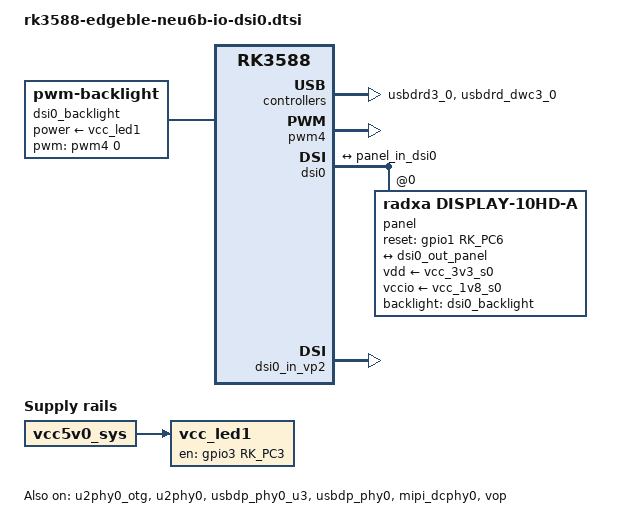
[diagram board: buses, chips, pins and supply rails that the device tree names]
// SPDX-License-Identifier: (GPL-2.0+ OR MIT)
/*
 * Copyright (c) 2023 Edgeble AI Technologies Pvt. Ltd.
 */

&usbdrd3_0 {
	status = "okay";
};

/* OTG, set dr_mode = "host"; for host */
&usbdrd_dwc3_0 {
	status = "okay";
};

&u2phy0_otg {
	status = "okay";
};

&u2phy0 {
	status = "okay";
};

&usbdp_phy0_u3 {
	status = "okay";
};

&usbdp_phy0 {
	status = "okay";
};

/* DSI0 */
/ {
	vcc_led1: vcc-led1 {
		compatible = "regulator-fixed";
		regulator-name = "vcc_led1";
		gpio = <&gpio3 RK_PC3 GPIO_ACTIVE_HIGH>;
		enable-active-high;
		pinctrl-names = "default";
		pinctrl-0 = <&dsi0_backlight_en>; /* LCD1_BL_EN */
		regulator-always-on;
		regulator-boot-on;
		vin-supply = <&vcc5v0_sys>;
	};

	dsi0_backlight: dsi0-backlight {
		compatible = "pwm-backlight";
		pwms = <&pwm4 0 25000 0>;
		brightness-levels = <
			  0  20  20  21  21  22  22  23
			 23  24  24  25  25  26  26  27
			 27  28  28  29  29  30  30  31
			 31  32  32  33  33  34  34  35
			 35  36  36  37  37  38  38  39
			 40  41  42  43  44  45  46  47
			 48  49  50  51  52  53  54  55
			 56  57  58  59  60  61  62  63
			 64  65  66  67  68  69  70  71
			 72  73  74  75  76  77  78  79
			 80  81  82  83  84  85  86  87
			 88  89  90  91  92  93  94  95
			 96  97  98  99 100 101 102 103
			104 105 106 107 108 109 110 111
			112 113 114 115 116 117 118 119
			120 121 122 123 124 125 126 127
			128 129 130 131 132 133 134 135
			136 137 138 139 140 141 142 143
			144 145 146 147 148 149 150 151
			152 153 154 155 156 157 158 159
			160 161 162 163 164 165 166 167
			168 169 170 171 172 173 174 175
			176 177 178 179 180 181 182 183
			184 185 186 187 188 189 190 191
			192 193 194 195 196 197 198 199
			200 201 202 203 204 205 206 207
			208 209 210 211 212 213 214 215
			216 217 218 219 220 221 222 223
			224 225 226 227 228 229 230 231
			232 233 234 235 236 237 238 239
			240 241 242 243 244 245 246 247
			248 249 250 251 252 253 254 255
		>;
		default-brightness-level = <200>;
		power-supply = <&vcc_led1>;
	};
};

&pinctrl {
	backlight-0 {
		dsi0_backlight_en: dsi0-backlight-en {
			rockchip,pins = <3 RK_PC3 RK_FUNC_GPIO &pcfg_pull_up>;
		};
	};

	dsi0-lcd {
		dsi0_lcd_rst_gpio: dsi0-lcd-rst-gpio {
			rockchip,pins = <1 RK_PC6 RK_FUNC_GPIO &pcfg_pull_up>;
		};
	};
};

&pwm4 {
	status = "okay";
	pinctrl-names = "active";
	pinctrl-0 = <&pwm4m0_pins>;
};

&dsi0 {
	status = "okay";
	rockchip,lane-rate = <480>;
	#address-cells = <1>;
	#size-cells = <0>;

	ports {
		#address-cells = <1>;
		#size-cells = <0>;

		port@1 {
			reg = <1>;

			dsi0_out_panel: endpoint {
				remote-endpoint = <&panel_in_dsi0>;
			};
		};
	};

	panel@0 {
		compatible = "radxa,display-10hd-a", "jadard,jd9365da-h3";
		reg = <0>;
		backlight = <&dsi0_backlight>;
		vdd-supply = <&vcc_3v3_s0>;
		vccio-supply = <&vcc_1v8_s0>;
		reset-gpios = <&gpio1 RK_PC6 GPIO_ACTIVE_HIGH>; /* LCD1_RESET */
		pinctrl-names = "default";
		pinctrl-0 = <&dsi0_lcd_rst_gpio>;

		port {
			panel_in_dsi0: endpoint {
				remote-endpoint = <&dsi0_out_panel>;
			};
		};
	};
};

&mipi_dcphy0 {
	status = "okay";
};

&display_subsystem {
	route {
		route_dsi0: route-dsi0 {
			status = "okay";
			connect = <&vp2_out_dsi0>;
		};
	};
};

&dsi0_in_vp2 {
	status = "okay";
};

&dsi0_in_vp3 {
	status = "disabled";
};

&vop {
	status = "okay";
};

&vop_mmu {
	status = "okay";
};

/* vp0 & vp1 splice for 8K output */
&vp0 {
	rockchip,plane-mask = <(1 << ROCKCHIP_VOP2_CLUSTER0 | 1 << ROCKCHIP_VOP2_ESMART0)>;
	rockchip,primary-plane = <ROCKCHIP_VOP2_CLUSTER0>;
	cursor-win-id = <ROCKCHIP_VOP2_ESMART0>;
};

&vp1 {
	rockchip,plane-mask = <(1 << ROCKCHIP_VOP2_CLUSTER1 | 1 << ROCKCHIP_VOP2_ESMART1)>;
	rockchip,primary-plane = <ROCKCHIP_VOP2_CLUSTER1>;
	cursor-win-id = <ROCKCHIP_VOP2_ESMART1>;
};

&vp2 {
	rockchip,plane-mask = <(1 << ROCKCHIP_VOP2_CLUSTER2 | 1 << ROCKCHIP_VOP2_ESMART2)>;
	rockchip,primary-plane = <ROCKCHIP_VOP2_CLUSTER2>;
	cursor-win-id = <ROCKCHIP_VOP2_ESMART2>;
};

&vp3 {
	rockchip,plane-mask = <(1 << ROCKCHIP_VOP2_CLUSTER3 | 1 << ROCKCHIP_VOP2_ESMART3)>;
	rockchip,primary-plane = <ROCKCHIP_VOP2_CLUSTER3>;
	cursor-win-id = <ROCKCHIP_VOP2_ESMART3>;
};
